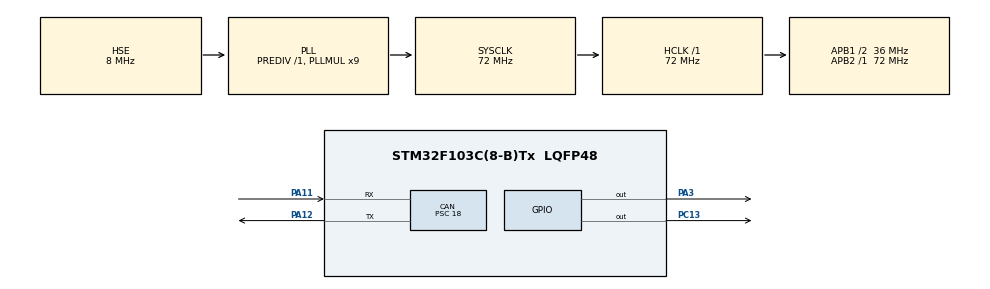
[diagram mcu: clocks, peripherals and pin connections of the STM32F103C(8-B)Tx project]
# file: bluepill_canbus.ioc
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CAN.BS1=CAN_BS1_3TQ
CAN.BS2=CAN_BS2_4TQ
CAN.CalculateBaudRate=250000
CAN.CalculateTimeBit=4000
CAN.CalculateTimeQuantum=500.0
CAN.Prescaler=18
Mcu.Family=STM32F1
Mcu.Name=STM32F103C(8-B)Tx
Mcu.Package=LQFP48
NVIC.PriorityGroup=NVIC_PRIORITYGROUP_4
NVIC.TIM2_IRQn=true\:0\:0\:false\:false\:true\:true\:true\:true
NVIC.USB_LP_CAN1_RX0_IRQn=true\:0\:0\:false\:false\:true\:true\:true\:true
PA11.Mode=CAN_Activate
PA11.Signal=CAN_RX
PA12.Mode=CAN_Activate
PA12.Signal=CAN_TX
PA3.Signal=GPIO_Output
PC13-TAMPER-RTC.Signal=GPIO_Output
PD0-OSC_IN.Mode=HSE-External-Oscillator
PD0-OSC_IN.Signal=RCC_OSC_IN
PD1-OSC_OUT.Mode=HSE-External-Oscillator
PD1-OSC_OUT.Signal=RCC_OSC_OUT
ProjectManager.HeapSize=0x200
ProjectManager.StackSize=0x400
ProjectManager.TargetToolchain=STM32CubeIDE
RCC.AHBFreq_Value=72000000
RCC.APB1CLKDivider=RCC_HCLK_DIV2
RCC.APB1Freq_Value=36000000
RCC.APB1TimFreq_Value=72000000
RCC.APB2Freq_Value=72000000
RCC.APB2TimFreq_Value=72000000
RCC.HCLKFreq_Value=72000000
RCC.PLLMUL=RCC_PLL_MUL9
RCC.PLLSourceVirtual=RCC_PLLSOURCE_HSE
RCC.SYSCLKFreq_VALUE=72000000
RCC.SYSCLKSource=RCC_SYSCLKSOURCE_PLLCLK
RCC.USBFreq_Value=72000000
TIM2.AutoReloadPreload=TIM_AUTORELOAD_PRELOAD_ENABLE
TIM2.Period=36000
TIM2.Prescaler=2000
VP_SYS_VS_ND.Mode=No_Debug
VP_TIM2_VS_ClockSourceINT.Mode=Internal
board=custom

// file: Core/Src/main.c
/* USER CODE BEGIN Header */
/**
  ******************************************************************************
  * @file           : main.c
  * @brief          : Main program body
  ******************************************************************************
  * @attention
  *
  * Copyright (c) 2022 STMicroelectronics.
  * All rights reserved.
  *
  * This software is licensed under terms that can be found in the LICENSE file
  * in the root directory of this software component.
  * If no LICENSE file comes with this software, it is provided AS-IS.
  *
  ******************************************************************************
  */
/* USER CODE END Header */
#include "main.h"

 CAN_HandleTypeDef hcan;

TIM_HandleTypeDef htim2;

/* USER CODE BEGIN PV */

 CAN_RxHeaderTypeDef rxHeader; //CAN Bus Transmit Header
 CAN_TxHeaderTypeDef txHeader; //CAN Bus Receive Header
 uint8_t canRX[8] = {0,0,0,0,0,0,0,0};  //CAN Bus Receive Buffer
 CAN_FilterTypeDef canfil; //CAN Bus Filter
 uint32_t canMailbox; //CAN Bus Mail box variable

/* USER CODE END PV */

void SystemClock_Config(void);
static void MX_GPIO_Init(void);
static void MX_CAN_Init(void);
static void MX_TIM2_Init(void);

int main(void)
{

  /* MCU Configuration--------------------------------------------------------*/

  /* Reset of all peripherals, Initializes the Flash interface and the Systick. */
  HAL_Init();

  /* Configure the system clock */
  SystemClock_Config();

  /* Initialize all configured peripherals */
  MX_GPIO_Init();
  MX_CAN_Init();
  MX_TIM2_Init();
  /* USER CODE BEGIN 2 */
  canfil.FilterBank = 0;
	canfil.FilterMode = CAN_FILTERMODE_IDMASK;
	canfil.FilterFIFOAssignment = CAN_RX_FIFO0;
	canfil.FilterIdHigh = 0;
	canfil.FilterIdLow = 0;
	canfil.FilterMaskIdHigh = 0;
	canfil.FilterMaskIdLow = 0;
	canfil.FilterScale = CAN_FILTERSCALE_32BIT;
	canfil.FilterActivation = ENABLE;
	canfil.SlaveStartFilterBank = 14;

	// Assign values for transmit header variable
	txHeader.DLC = 8;
	txHeader.IDE = CAN_ID_STD;
	txHeader.RTR = CAN_RTR_DATA;
	txHeader.StdId = 0x034;
	txHeader.ExtId = 0x02;
	txHeader.TransmitGlobalTime = DISABLE;

	// Initiate canbus
	HAL_CAN_ConfigFilter(&hcan,&canfil);
	HAL_CAN_Start(&hcan);
	HAL_CAN_ActivateNotification(&hcan,CAN_IT_RX_FIFO0_MSG_PENDING);

	HAL_TIM_Base_Start_IT(&htim2);

  /* USER CODE END 2 */

  /* Infinite loop */
  while (1)
  {

  }
}

void SystemClock_Config(void)
{
  RCC_OscInitTypeDef RCC_OscInitStruct = {0};
  RCC_ClkInitTypeDef RCC_ClkInitStruct = {0};

  /** Initializes the RCC Oscillators according to the specified parameters
  * in the RCC_OscInitTypeDef structure.
  */
  RCC_OscInitStruct.OscillatorType = RCC_OSCILLATORTYPE_HSE;
  RCC_OscInitStruct.HSEState = RCC_HSE_ON;
  RCC_OscInitStruct.HSEPredivValue = RCC_HSE_PREDIV_DIV1;
  RCC_OscInitStruct.HSIState = RCC_HSI_ON;
  RCC_OscInitStruct.PLL.PLLState = RCC_PLL_ON;
  RCC_OscInitStruct.PLL.PLLSource = RCC_PLLSOURCE_HSE;
  RCC_OscInitStruct.PLL.PLLMUL = RCC_PLL_MUL9;
  if (HAL_RCC_OscConfig(&RCC_OscInitStruct) != HAL_OK)
  {
    Error_Handler();
  }

  /** Initializes the CPU, AHB and APB buses clocks
  */
  RCC_ClkInitStruct.ClockType = RCC_CLOCKTYPE_HCLK|RCC_CLOCKTYPE_SYSCLK
                              |RCC_CLOCKTYPE_PCLK1|RCC_CLOCKTYPE_PCLK2;
  RCC_ClkInitStruct.SYSCLKSource = RCC_SYSCLKSOURCE_PLLCLK;
  RCC_ClkInitStruct.AHBCLKDivider = RCC_SYSCLK_DIV1;
  RCC_ClkInitStruct.APB1CLKDivider = RCC_HCLK_DIV2;
  RCC_ClkInitStruct.APB2CLKDivider = RCC_HCLK_DIV1;

  if (HAL_RCC_ClockConfig(&RCC_ClkInitStruct, FLASH_LATENCY_2) != HAL_OK)
  {
    Error_Handler();
  }
}

static void MX_CAN_Init(void)
{

  hcan.Instance = CAN1;
  hcan.Init.Prescaler = 18;
  hcan.Init.Mode = CAN_MODE_NORMAL;
  hcan.Init.SyncJumpWidth = CAN_SJW_1TQ;
  hcan.Init.TimeSeg1 = CAN_BS1_3TQ;
  hcan.Init.TimeSeg2 = CAN_BS2_4TQ;
  hcan.Init.TimeTriggeredMode = DISABLE;
  hcan.Init.AutoBusOff = DISABLE;
  hcan.Init.AutoWakeUp = DISABLE;
  hcan.Init.AutoRetransmission = DISABLE;
  hcan.Init.ReceiveFifoLocked = DISABLE;
  hcan.Init.TransmitFifoPriority = DISABLE;
  if (HAL_CAN_Init(&hcan) != HAL_OK)
  {
    Error_Handler();
  }

}

static void MX_TIM2_Init(void)
{

  TIM_ClockConfigTypeDef sClockSourceConfig = {0};
  TIM_MasterConfigTypeDef sMasterConfig = {0};

  htim2.Instance = TIM2;
  htim2.Init.Prescaler = 2000;
  htim2.Init.CounterMode = TIM_COUNTERMODE_UP;
  htim2.Init.Period = 36000;
  htim2.Init.ClockDivision = TIM_CLOCKDIVISION_DIV1;
  htim2.Init.AutoReloadPreload = TIM_AUTORELOAD_PRELOAD_ENABLE;
  if (HAL_TIM_Base_Init(&htim2) != HAL_OK)
  {
    Error_Handler();
  }
  sClockSourceConfig.ClockSource = TIM_CLOCKSOURCE_INTERNAL;
  if (HAL_TIM_ConfigClockSource(&htim2, &sClockSourceConfig) != HAL_OK)
  {
    Error_Handler();
  }
  sMasterConfig.MasterOutputTrigger = TIM_TRGO_RESET;
  sMasterConfig.MasterSlaveMode = TIM_MASTERSLAVEMODE_DISABLE;
  if (HAL_TIMEx_MasterConfigSynchronization(&htim2, &sMasterConfig) != HAL_OK)
  {
    Error_Handler();
  }

}

static void MX_GPIO_Init(void)
{
  GPIO_InitTypeDef GPIO_InitStruct = {0};

  /* GPIO Ports Clock Enable */
  __HAL_RCC_GPIOC_CLK_ENABLE();
  __HAL_RCC_GPIOD_CLK_ENABLE();
  __HAL_RCC_GPIOA_CLK_ENABLE();

  /*Configure GPIO pin Output Level */
  HAL_GPIO_WritePin(GPIOC, GPIO_PIN_13, GPIO_PIN_RESET);

  /*Configure GPIO pin Output Level */
  HAL_GPIO_WritePin(GPIOA, GPIO_PIN_3, GPIO_PIN_RESET);

  /*Configure GPIO pin : PC13 */
  GPIO_InitStruct.Pin = GPIO_PIN_13;
  GPIO_InitStruct.Mode = GPIO_MODE_OUTPUT_PP;
  GPIO_InitStruct.Pull = GPIO_NOPULL;
  GPIO_InitStruct.Speed = GPIO_SPEED_FREQ_LOW;
  HAL_GPIO_Init(GPIOC, &GPIO_InitStruct);

  /*Configure GPIO pin : PA3 */
  GPIO_InitStruct.Pin = GPIO_PIN_3;
  GPIO_InitStruct.Mode = GPIO_MODE_OUTPUT_PP;
  GPIO_InitStruct.Pull = GPIO_NOPULL;
  GPIO_InitStruct.Speed = GPIO_SPEED_FREQ_LOW;
  HAL_GPIO_Init(GPIOA, &GPIO_InitStruct);

}

/* USER CODE BEGIN 4 */

void HAL_CAN_RxFifo0MsgPendingCallback(CAN_HandleTypeDef *hcan1)
{
	HAL_CAN_GetRxMessage(hcan1, CAN_RX_FIFO0, &rxHeader, canRX);
	HAL_GPIO_TogglePin(GPIOA, GPIO_PIN_3);

}

void HAL_TIM_PeriodElapsedCallback(TIM_HandleTypeDef* htim)
{
	uint8_t csend[] = {0x01,0x02,0x03,0x04,0x05,0x06,0x07,0x08};
  HAL_CAN_AddTxMessage(&hcan,&txHeader,csend,&canMailbox);
  HAL_GPIO_TogglePin(GPIOC, GPIO_PIN_13);
  HAL_GPIO_TogglePin(GPIOA, GPIO_PIN_3);
}

/* USER CODE END 4 */

void Error_Handler(void)
{
  __disable_irq();
  while (1)
  {
  }
}
